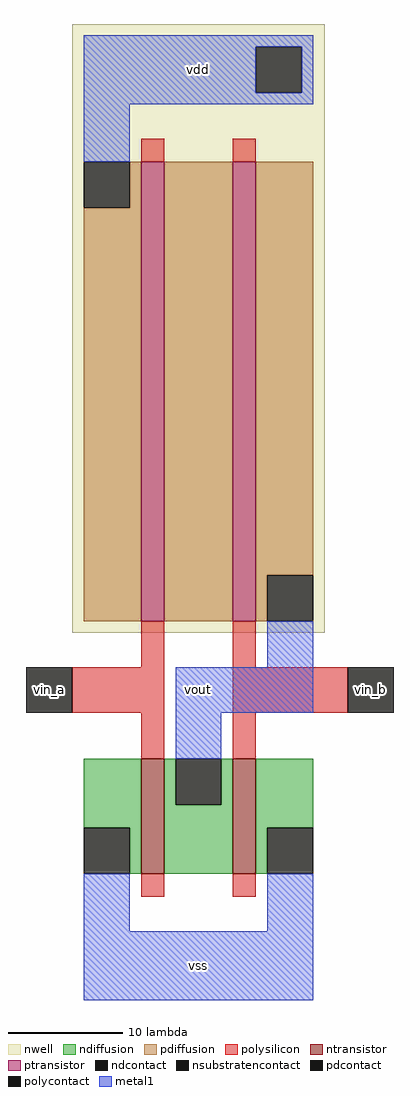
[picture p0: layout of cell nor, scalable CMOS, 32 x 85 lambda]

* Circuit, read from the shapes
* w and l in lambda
.subckt nor vdd vin_a vin_b vout vss
M1 vout vin_a vss VSUBS nfet w=10 l=2
M2 vss vin_b vout VSUBS nfet w=10 l=2
M3 n1 vin_a vdd vdd pfet w=40 l=2
M4 vout vin_b n1 vdd pfet w=40 l=2
.ends

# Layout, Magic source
magic
tech scmos
<< nwell >>
rect -8 7 14 60
<< polysilicon >>
rect -2 48 0 50
rect 6 48 8 50
rect -2 4 0 8
rect -8 0 0 4
rect -2 -4 0 0
rect 6 4 8 8
rect 6 0 16 4
rect 6 -4 8 0
rect -2 -16 0 -14
rect 6 -16 8 -14
<< ndiffusion >>
rect -7 -10 -2 -4
rect -3 -14 -2 -10
rect 0 -8 1 -4
rect 5 -8 6 -4
rect 0 -14 6 -8
rect 8 -10 13 -4
rect 8 -14 9 -10
<< pdiffusion >>
rect -3 44 -2 48
rect -7 8 -2 44
rect 0 8 6 48
rect 8 12 13 48
rect 8 8 9 12
<< metal1 >>
rect -7 58 13 59
rect -7 54 8 58
rect 12 54 13 58
rect -7 53 13 54
rect -7 48 -3 53
rect 9 4 13 8
rect 1 0 13 4
rect 1 -4 5 0
rect -7 -19 -3 -14
rect 9 -19 13 -14
rect -7 -25 13 -19
<< ntransistor >>
rect -2 -14 0 -4
rect 6 -14 8 -4
<< ptransistor >>
rect -2 8 0 48
rect 6 8 8 48
<< polycontact >>
rect -12 0 -8 4
rect 16 0 20 4
<< ndcontact >>
rect -7 -14 -3 -10
rect 1 -8 5 -4
rect 9 -14 13 -10
<< pdcontact >>
rect -7 44 -3 48
rect 9 8 13 12
<< nsubstratencontact >>
rect 8 54 12 58
<< labels >>
rlabel metal1 1 -24 5 -20 5 vss
rlabel metal1 1 0 5 4 1 vout
rlabel polycontact -12 0 -8 4 7 vin_a
rlabel polycontact 16 0 20 4 3 vin_b
rlabel metal1 1 54 5 58 1 vdd
<< end >>
